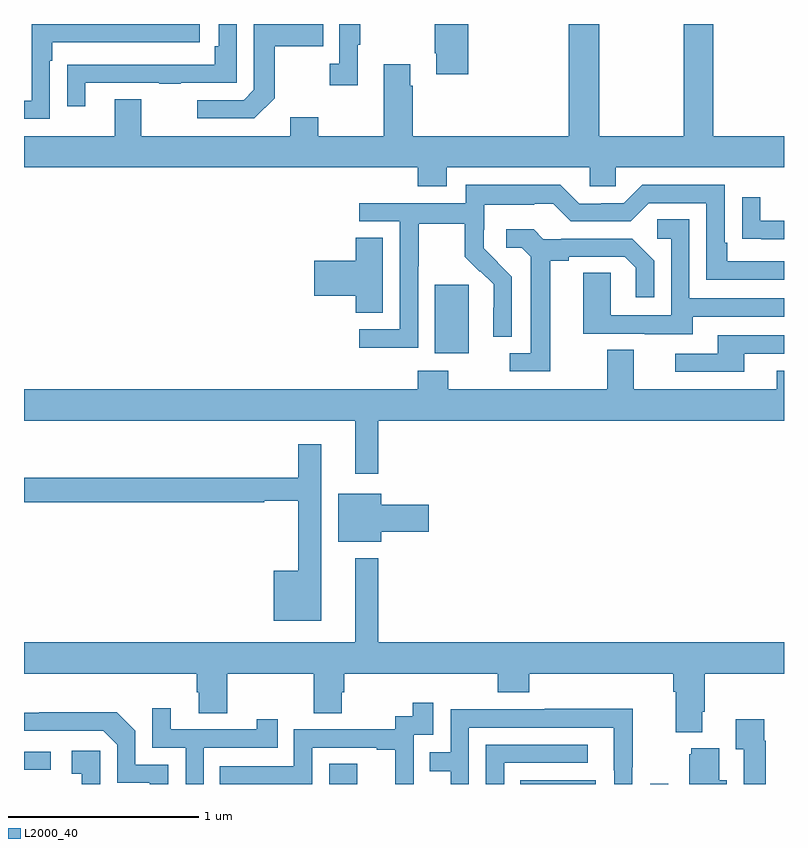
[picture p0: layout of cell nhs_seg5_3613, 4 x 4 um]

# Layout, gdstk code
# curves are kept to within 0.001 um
import gdstk
lib = gdstk.Library(unit=1e-6, precision=1e-09)
def R(c, l, rs):  # rectangles x0, y0, x1, y1
    for r in rs: c.add(gdstk.rectangle(r[:2], r[2:], *l))
def P(c, l, *ps):  # polygons
    for p in ps: c.add(gdstk.Polygon(p, *l))
L2000_40 = (2000, 40)

nhs_seg5_3613 = lib.new_cell('nhs_seg5_3613')
R(nhs_seg5_3613, L2000_40, [(324.606,902.799,324.754,902.905), (325.612,902.799,326.008,902.818), (326.295,902.799,326.391,902.8), (323,902.874,323.14,902.97), (325.163,905.066,325.342,905.427)])
P(nhs_seg5_3613, L2000_40, [(323.136,906.605),(323.149,906.605),(323.149,906.702),(323.926,906.702),(323.926,906.799),(323.765,906.799),(323.765,906.798),(323.04,906.798),(323.04,906.396),(323,906.396),(323,906.3),(323.136,906.3)],
  [(324.319,906.409),(324.319,906.682),(324.575,906.682),(324.575,906.799),(324.21,906.799),(324.21,906.453),(324.156,906.399),(323.913,906.399),(323.913,906.303),(324.213,906.303)],
  [(323.323,906.489),(323.713,906.489),(323.713,906.484),(323.825,906.484),(323.825,906.489),(324.12,906.489),(324.12,906.799),(324.024,906.799),(324.024,906.682),(324.004,906.682),(324.004,906.585),(323.329,906.585),(323.329,906.584),(323.227,906.584),(323.227,906.366),(323.323,906.366)],
  [(324.757,906.689),(324.769,906.689),(324.769,906.799),(324.66,906.799),(324.66,906.59),(324.609,906.59),(324.609,906.477),(324.757,906.477)],
  [(325.337,906.799),(325.162,906.799),(325.162,906.646),(325.169,906.646),(325.169,906.534),(325.337,906.534)],
  [(325.225,906.044),(325.977,906.044),(325.977,905.946),(326.115,905.946),(326.115,906.044),(327,906.044),(327,906.208),(326.628,906.208),(326.628,906.799),(326.473,906.799),(326.473,906.208),(326.028,906.208),(326.028,906.799),(325.868,906.799),(325.868,906.208),(325.046,906.208),(325.046,906.473),(325.033,906.473),(325.033,906.586),(324.893,906.586),(324.893,906.208),(324.549,906.208),(324.549,906.307),(324.401,906.307),(324.401,906.208),(323.617,906.208),(323.617,906.403),(323.477,906.403),(323.477,906.208),(323,906.208),(323,906.044),(325.073,906.044),(325.073,905.945),(325.225,905.945)],
  [(325.074,905.524),(325.077,905.524),(325.077,905.748),(325.321,905.748),(325.321,905.573),(325.398,905.496),(325.401,905.499),(325.472,905.429),(325.472,905.306),(325.47,905.306),(325.47,905.152),(325.566,905.152),(325.566,905.47),(325.42,905.618),(325.42,905.715),(325.422,905.715),(325.422,905.849),(325.685,905.849),(325.685,905.853),(325.785,905.853),(325.878,905.76),(326.193,905.76),(326.289,905.856),(326.592,905.856),(326.592,905.454),(327,905.454),(327,905.55),(326.701,905.55),(326.701,905.647),(326.688,905.647),(326.688,905.952),(326.253,905.952),(326.157,905.856),(326.039,905.856),(326.039,905.853),(325.923,905.853),(325.823,905.953),(325.326,905.953),(325.326,905.856),(324.765,905.856),(324.765,905.76),(324.978,905.76),(324.978,905.193),(324.765,905.193),(324.765,905.095),(325.074,905.095)],
  [(327,905.763),(326.875,905.763),(326.875,905.887),(326.779,905.887),(326.779,905.668),(326.881,905.668),(326.881,905.667),(327,905.667)],
  [(326.521,905.259),(327,905.259),(327,905.355),(326.502,905.355),(326.502,905.771),(326.334,905.771),(326.334,905.67),(326.406,905.67),(326.406,905.265),(326.088,905.265),(326.088,905.489),(325.943,905.489),(325.943,905.169),(326.267,905.169),(326.267,905.165),(326.521,905.165)],
  [(325.771,905.552),(325.867,905.552),(325.867,905.574),(326.162,905.574),(326.219,905.517),(326.219,905.361),(326.316,905.361),(326.316,905.554),(326.2,905.67),(325.828,905.67),(325.828,905.667),(325.734,905.667),(325.682,905.719),(325.539,905.719),(325.539,905.622),(325.62,905.622),(325.667,905.575),(325.667,905.067),(325.557,905.067),(325.557,904.971),(325.771,904.971)],
  [(324.889,905.675),(324.746,905.675),(324.746,905.552),(324.528,905.552),(324.528,905.369),(324.746,905.369),(324.746,905.278),(324.889,905.278)],
  [(326.791,905.064),(327,905.064),(327,905.16),(326.651,905.16),(326.651,905.064),(326.427,905.064),(326.427,904.968),(326.791,904.968)],
  [(324.865,904.712),(327,904.712),(327,904.975),(326.963,904.975),(326.963,904.876),(326.209,904.876),(326.209,905.084),(326.069,905.084),(326.069,904.876),(325.233,904.876),(325.233,904.975),(325.073,904.975),(325.073,904.876),(323,904.876),(323,904.712),(324.743,904.712),(324.743,904.431),(324.865,904.431)],
  [(324.565,904.588),(324.444,904.588),(324.444,904.411),(323,904.411),(323,904.282),(324.265,904.282),(324.265,904.29),(324.444,904.29),(324.444,903.922),(324.314,903.922),(324.314,903.659),(324.565,903.659)],
  [(324.88,904.127),(325.129,904.127),(325.129,904.269),(324.88,904.269),(324.88,904.327),(324.653,904.327),(324.653,904.073),(324.88,904.073)],
  [(326.569,903.178),(326.582,903.178),(326.582,903.38),(327,903.38),(327,903.544),(324.865,903.544),(324.865,903.988),(324.743,903.988),(324.743,903.544),(323,903.544),(323,903.38),(323.909,903.38),(323.909,903.282),(323.921,903.282),(323.921,903.172),(324.069,903.172),(324.069,903.38),(324.526,903.38),(324.526,903.172),(324.673,903.172),(324.673,903.282),(324.686,903.282),(324.686,903.38),(325.493,903.38),(325.493,903.281),(325.658,903.281),(325.658,903.38),(326.417,903.38),(326.417,903.284),(326.429,903.284),(326.429,903.071),(326.569,903.071)],
  [(324.516,902.991),(324.857,902.991),(324.857,902.979),(324.953,902.979),(324.953,902.799),(325.052,902.799),(325.052,902.828),(325.05,902.828),(325.05,903.057),(325.155,903.057),(325.155,903.226),(325.047,903.226),(325.047,903.156),(324.954,903.156),(324.954,903.087),(324.42,903.087),(324.42,902.892),(324.031,902.892),(324.031,902.799),(324.516,902.799)],
  [(323.946,902.991),(324.335,902.991),(324.335,903.139),(324.224,903.139),(324.224,903.087),(323.773,903.087),(323.773,903.199),(323.676,903.199),(323.676,902.991),(323.85,902.991),(323.85,902.799),(323.946,902.799)],
  [(325.341,903.096),(326.105,903.096),(326.105,902.872),(326.106,902.872),(326.106,902.799),(326.202,902.799),(326.202,902.887),(326.205,902.887),(326.205,903.194),(325.741,903.194),(325.741,903.192),(325.245,903.192),(325.245,902.967),(325.135,902.967),(325.135,902.866),(325.245,902.866),(325.245,902.799),(325.341,902.799)],
  [(323.76,902.901),(323.586,902.901),(323.586,903.078),(323.488,903.176),(323.08,903.176),(323.08,903.174),(323,903.174),(323,903.078),(323.418,903.078),(323.49,903.006),(323.49,902.805),(323.663,902.805),(323.663,902.799),(323.76,902.799)],
  [(326.903,903.026),(326.896,903.026),(326.896,903.139),(326.747,903.139),(326.747,902.983),(326.787,902.983),(326.787,902.799),(326.903,902.799)],
  [(325.527,902.91),(325.966,902.91),(325.966,903.006),(325.431,903.006),(325.431,902.799),(325.527,902.799)],
  [(326.698,902.818),(326.659,902.818),(326.659,902.986),(326.513,902.986),(326.513,902.955),(326.501,902.955),(326.501,902.799),(326.698,902.799)],
  [(323.4,902.974),(323.25,902.974),(323.25,902.853),(323.303,902.853),(323.303,902.799),(323.4,902.799)])

lib.write_gds('nhs_seg5_3613.gds')
